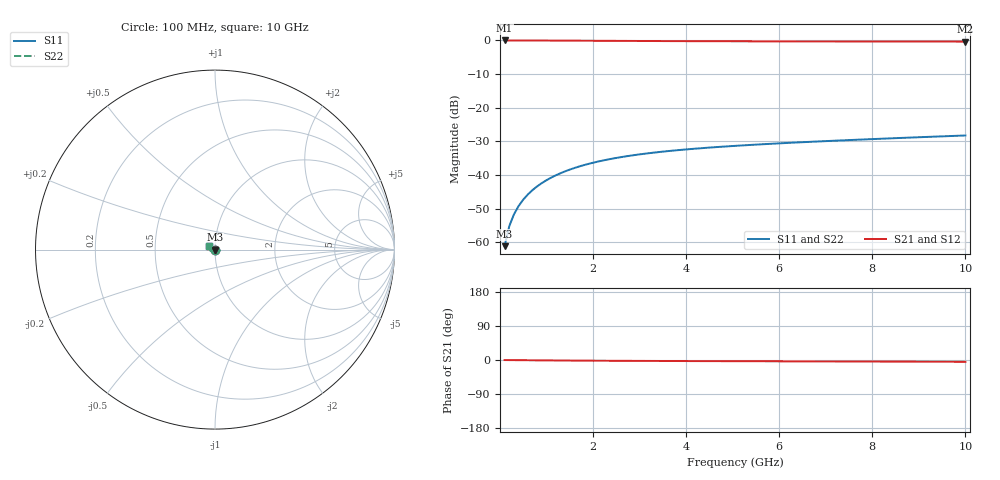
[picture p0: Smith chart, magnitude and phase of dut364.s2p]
! Touchstone file exported from HFSS 2024.1.0
!  File:  C:/UserFiles/LocalFiles/RDL_TSV_Batchsim/temp_TSV1_364_1779621390.aedt
!  Generated:  07:21:25 PM May 24, 2026
!  Design:  TSV1
!  Project:  temp_TSV1_364_1779621390
!  Setup:  Setup1
!  Solution:  Sweep
! Variables:
!  dtsv = 8.88um
!  hbump = 3um
!  htsv = 69.46um
!  lrdl = 252.1521522um
!  p = 40
!  p1 = 59.18um
!  t = 500um
!  trdl = 3um
!  wrdl = 24.89489489um
# GHz S MA R 50.000000
! Terminal data exported
! Port[1] = TSV22_T1
! Port[2] = TSV22_T2
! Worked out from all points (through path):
!   100 points, 100 MHz to 10 GHz, reference 50 ohm
!   highest |S21| = 0.00 dB at 100 MHz (marker M1); lowest = -0.3 dB at 10 GHz (marker M2)
!   lowest |S11| = -61.1 dB at 100 MHz (marker M3), VSWR 1.00, Z = 50 - j0.0869 ohm
!   |S11| at or under -10 dB: start of sweep to end of sweep
!   |S22| runs from -61.1 to -28.2 dB; largest |S21 - S12| = 4.3e-15
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0.1  0.0008793 -81.3  0.9998 -0.1  0.9998 -0.1  0.0008793 -81.3
! Gamma 0 0 0 0
! Port Impedance 50 0 50 0
0.2  0.001742 -88.8  0.9997 -0.2  0.9997 -0.2  0.001742 -88.8
0.3  0.002607 -92.9  0.9995 -0.3  0.9995 -0.3  0.002607 -92.9
0.4  0.003467 -96.1  0.9992 -0.4  0.9992 -0.4  0.003467 -96.1
0.5  0.004319 -98.9  0.9989 -0.5  0.9989 -0.5  0.004319 -98.9
0.6  0.005161 -101.5  0.9986 -0.6  0.9986 -0.6  0.005161 -101.5
0.7  0.005992 -104.0  0.9981 -0.7  0.9981 -0.7  0.005992 -104.0
0.8  0.00681 -106.3  0.9977 -0.8  0.9977 -0.8  0.00681 -106.3
0.9  0.007613 -108.7  0.9971 -0.9  0.9971 -0.9  0.007613 -108.7
1.1  0.00917 -113.1  0.9959 -1.1  0.9959 -1.1  0.00917 -113.1
1.4  0.01137 -119.5  0.9939 -1.4  0.9939 -1.4  0.01137 -119.5
1.6  0.01275 -123.5  0.9925 -1.5  0.9925 -1.5  0.01275 -123.5
1.8  0.01404 -127.4  0.991 -1.7  0.991 -1.7  0.01404 -127.4
2.1  0.01584 -132.9  0.9887 -1.9  0.9887 -1.9  0.01584 -132.9
2.5  0.01798 -139.8  0.9857 -2.1  0.9857 -2.1  0.01798 -139.8
2.9  0.01987 -146.0  0.9829 -2.3  0.9829 -2.3  0.01987 -146.0
3.4  0.02193 -153.2  0.9797 -2.6  0.9797 -2.6  0.02193 -153.2
4.2  0.0247 -163.2  0.9755 -2.9  0.9755 -2.9  0.0247 -163.2
5.1  0.0273 -172.8  0.9718 -3.2  0.9718 -3.2  0.0273 -172.8
6.7  0.03127 173.3  0.9672 -3.7  0.9672 -3.7  0.03127 173.3
8.4  0.03515 161.8  0.9641 -4.2  0.9641 -4.2  0.03515 161.8
10  0.03875 153.0  0.9621 -4.8  0.9621 -4.8  0.03875 153.0
